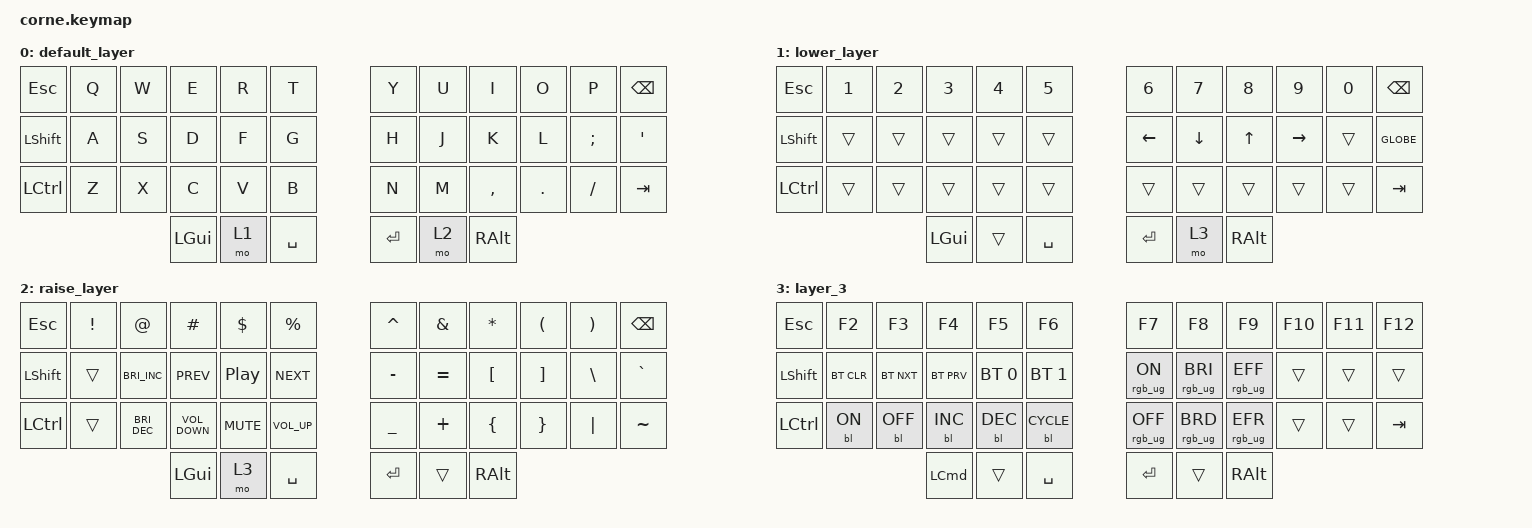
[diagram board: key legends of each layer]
/*
 * Copyright (c) 2020 The ZMK Contributors
 *
 * SPDX-License-Identifier: MIT
 */

#include <behaviors.dtsi>
#include <dt-bindings/zmk/backlight.h>
#include <dt-bindings/zmk/bt.h>
#include <dt-bindings/zmk/keys.h>
#include <dt-bindings/zmk/rgb.h>

/ {
    keymap {
        compatible = "zmk,keymap";

        default_layer {
            // -----------------------------------------------------------------------------------------
            // |  TAB |  Q  |  W  |  E  |  R  |  T  |   |  Y  |  U   |  I  |  O  |  P  | BSPC |
            // | CTRL |  A  |  S  |  D  |  F  |  G  |   |  H  |  J   |  K  |  L  |  ;  |  '   |
            // | SHFT |  Z  |  X  |  C  |  V  |  B  |   |  N  |  M   |  ,  |  .  |  /  | ESC  |
            //                    | GUI | LWR | SPC |   | ENT | RSE  | ALT |

            bindings = <
&kp ESC         &kp Q  &kp W  &kp E     &kp R  &kp T        &kp Y      &kp U  &kp I      &kp O    &kp P     &kp BSPC
&kp LEFT_SHIFT  &kp A  &kp S  &kp D     &kp F  &kp G        &kp H      &kp J  &kp K      &kp L    &kp SEMI  &kp SQT
&kp LCTRL       &kp Z  &kp X  &kp C     &kp V  &kp B        &kp N      &kp M  &kp COMMA  &kp DOT  &kp FSLH  &kp TAB
                              &kp LGUI  &mo 1  &kp SPACE    &kp ENTER  &mo 2  &kp RALT
            >;
        };

        lower_layer {
            // -----------------------------------------------------------------------------------------
            // |  TAB |  1  |  2  |  3  |  4  |  5  |   |  6  |  7  |  8  |  9  |  0  | BSPC |
            // | BTCLR| BT1 | BT2 | BT3 | BT4 | BT5 |   | LFT | DWN |  UP | RGT |     |      |
            // | SHFT |     |     |     |     |     |   |     |     |     |     |     |      |
            //                    | GUI |     | SPC |   | ENT |     | ALT |

            bindings = <
&kp ESC    &kp N1  &kp N2  &kp N3    &kp N4  &kp N5       &kp N6          &kp N7          &kp N8        &kp N9           &kp N0  &kp BSPC
&kp LSHFT  &trans  &trans  &trans    &trans  &trans       &kp LEFT_ARROW  &kp DOWN_ARROW  &kp UP_ARROW  &kp RIGHT_ARROW  &trans  &kp GLOBE
&kp LCTRL  &trans  &trans  &trans    &trans  &trans       &trans          &trans          &trans        &trans           &trans  &kp TAB
                           &kp LGUI  &trans  &kp SPACE    &kp ENTER       &mo 3           &kp RALT
            >;
        };

        raise_layer {
            // -----------------------------------------------------------------------------------------
            // |  TAB |  !  |  @  |  #  |  $  |  %  |   |  ^  |  &  |  *  |  (  |  )  | BSPC |
            // | CTRL |     |     |     |     |     |   |  -  |  =  |  [  |  ]  |  \  |  `   |
            // | SHFT |     |     |     |     |     |   |  _  |  +  |  {  |  }  | "|" |  ~   |
            //                    | GUI |     | SPC |   | ENT |     | ALT |

            bindings = <
&kp ESC    &kp EXCL  &kp AT                &kp HASH           &kp DLLR          &kp PRCNT          &kp CARET  &kp AMPS   &kp ASTRK  &kp LPAR  &kp RPAR  &kp BSPC
&kp LSHFT  &trans    &kp C_BRIGHTNESS_INC  &kp C_PREV         &kp C_PLAY_PAUSE  &kp C_NEXT         &kp MINUS  &kp EQUAL  &kp LBKT   &kp RBKT  &kp BSLH  &kp GRAVE
&kp LCTRL  &trans    &kp C_BRIGHTNESS_DEC  &kp C_VOLUME_DOWN  &kp K_MUTE        &kp C_VOLUME_UP    &kp UNDER  &kp PLUS   &kp LBRC   &kp RBRC  &kp PIPE  &kp TILDE
                                           &kp LGUI           &mo 3             &kp SPACE          &kp ENTER  &trans     &kp RALT
            >;
        };

        layer_3 {
            bindings = <
&kp ESC    &kp F2      &kp F3      &kp F4            &kp F5        &kp F6          &kp F7           &kp F8           &kp F9           &kp F10  &kp F11  &kp F12
&kp LSHFT  &bt BT_CLR  &bt BT_NXT  &bt BT_PRV        &bt BT_SEL 0  &bt BT_SEL 1    &rgb_ug RGB_ON   &rgb_ug RGB_BRI  &rgb_ug RGB_EFF  &trans   &trans   &trans
&kp LCTRL  &bl BL_ON   &bl BL_OFF  &bl BL_INC        &bl BL_DEC    &bl BL_CYCLE    &rgb_ug RGB_OFF  &rgb_ug RGB_BRD  &rgb_ug RGB_EFR  &trans   &trans   &kp TAB
                                   &kp LEFT_COMMAND  &trans        &kp SPACE       &kp ENTER        &trans           &kp RIGHT_ALT
            >;
        };
    };
};
